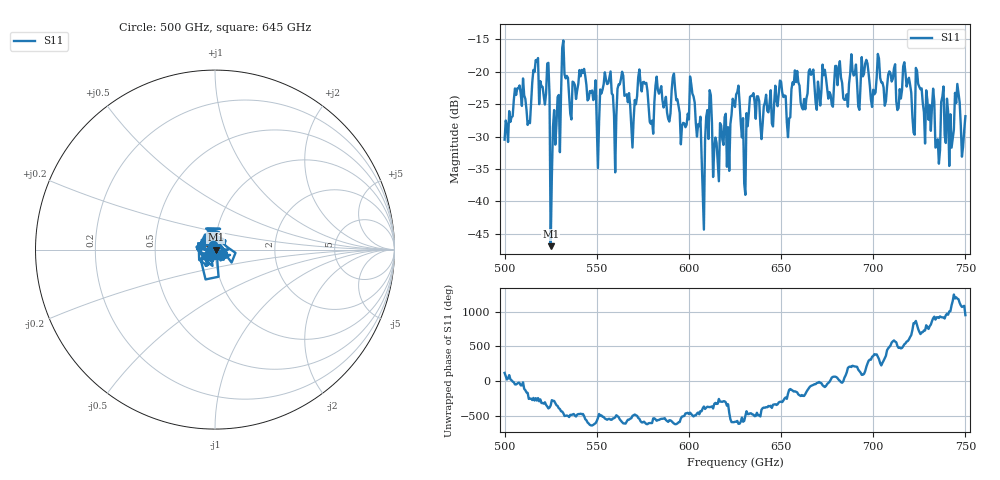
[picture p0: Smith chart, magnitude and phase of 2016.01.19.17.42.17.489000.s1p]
!Created with skrf (http://scikit-rf.org).
# GHz S RI R 50.0
!freq ReS11 ImS11
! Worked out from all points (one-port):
!   401 points, 500 GHz to 750 GHz, reference 50 ohm
!   lowest |S11| = -46.9 dB at 525 GHz (marker M1), VSWR 1.01, Z = 50.5 + j0.0444 ohm
!   |S11| at or under -10 dB: start of sweep to end of sweep
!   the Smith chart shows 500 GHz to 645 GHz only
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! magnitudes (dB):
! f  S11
! 500 GHz  -30.5
! 506.9 GHz  -22.6
! 513.1 GHz  -27.6
! 516.9 GHz  -18.2
! 523.1 GHz  -18.7
! 525 GHz  -46.9
! 526.2 GHz  -28.5
! 531.2 GHz  -16.3
! 551.2 GHz  -27.7
! 562.5 GHz  -21.9
! 569.4 GHz  -31.7
! 573.8 GHz  -21.7
! 579.4 GHz  -28.0
! 593.8 GHz  -24.3
! 596.9 GHz  -27.9
! 601.9 GHz  -23.4
! 608.1 GHz  -44.3
! 610.6 GHz  -30.4
! 615 GHz  -31.0
! 625 GHz  -25.4
! 629.4 GHz  -27.2
! 634.4 GHz  -23.7
! 656.2 GHz  -21.6
! 687.5 GHz  -20.3
! 718.8 GHz  -21.5
! 735 GHz  -30.4
! 745.6 GHz  -21.9
! 750 GHz  -26.9
